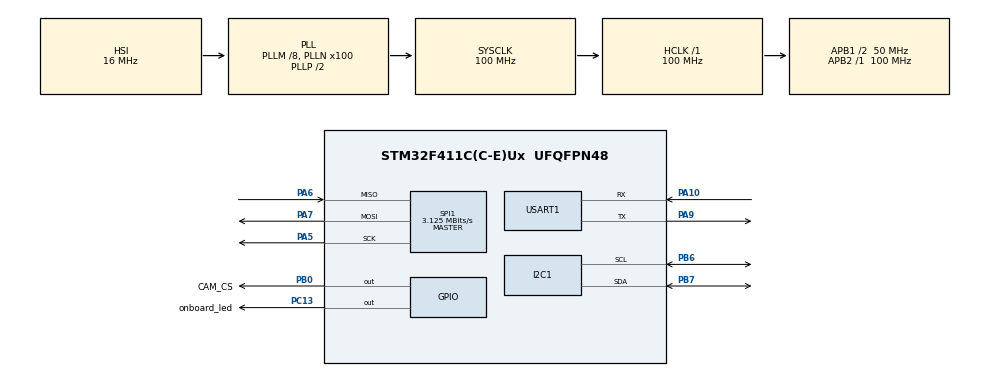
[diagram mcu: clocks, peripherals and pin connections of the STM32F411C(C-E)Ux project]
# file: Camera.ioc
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Mcu.Family=STM32F4
Mcu.Name=STM32F411C(C-E)Ux
Mcu.Package=UFQFPN48
NVIC.PriorityGroup=NVIC_PRIORITYGROUP_4
PA10.Mode=Asynchronous
PA10.Signal=USART1_RX
PA13.Mode=Serial_Wire
PA13.Signal=SYS_JTMS-SWDIO
PA14.Mode=Serial_Wire
PA14.Signal=SYS_JTCK-SWCLK
PA5.Mode=Full_Duplex_Master
PA5.Signal=SPI1_SCK
PA6.Mode=Full_Duplex_Master
PA6.Signal=SPI1_MISO
PA7.Mode=Full_Duplex_Master
PA7.Signal=SPI1_MOSI
PA9.Mode=Asynchronous
PA9.Signal=USART1_TX
PB0.GPIO_Label=CAM_CS
PB0.PinState=GPIO_PIN_SET
PB0.Signal=GPIO_Output
PB6.Mode=I2C
PB6.Signal=I2C1_SCL
PB7.Mode=I2C
PB7.Signal=I2C1_SDA
PC13-ANTI_TAMP.GPIO_Label=onboard_led
PC13-ANTI_TAMP.Signal=GPIO_Output
PH0\ -\ OSC_IN.Mode=HSE-External-Oscillator
PH0\ -\ OSC_IN.Signal=RCC_OSC_IN
PH1\ -\ OSC_OUT.Mode=HSE-External-Oscillator
PH1\ -\ OSC_OUT.Signal=RCC_OSC_OUT
ProjectManager.HeapSize=0x200
ProjectManager.StackSize=0x400
ProjectManager.TargetToolchain=CMake
RCC.48MHZClocksFreq_Value=50000000
RCC.AHBFreq_Value=100000000
RCC.APB1CLKDivider=RCC_HCLK_DIV2
RCC.APB1Freq_Value=50000000
RCC.APB1TimFreq_Value=100000000
RCC.APB2Freq_Value=100000000
RCC.APB2TimFreq_Value=100000000
RCC.CortexFreq_Value=100000000
RCC.HCLKFreq_Value=100000000
RCC.HSE_VALUE=25000000
RCC.HSI_VALUE=16000000
RCC.LSE_VALUE=32768
RCC.PLLM=8
RCC.PLLN=100
RCC.SYSCLKFreq_VALUE=100000000
RCC.SYSCLKSource=RCC_SYSCLKSOURCE_PLLCLK
RCC.VCOOutputFreq_Value=200000000
SPI1.BaudRatePrescaler=SPI_BAUDRATEPRESCALER_32
SPI1.CalculateBaudRate=3.125 MBits/s
SPI1.Direction=SPI_DIRECTION_2LINES
SPI1.Mode=SPI_MODE_MASTER
SPI1.VirtualType=VM_MASTER
USART1.VirtualMode=VM_ASYNC
board=custom

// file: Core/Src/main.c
/* USER CODE BEGIN Header */
/**
  ******************************************************************************
  * @file           : main.c
  * @brief          : Main program body
  ******************************************************************************
  * @attention
  *
  * Copyright (c) 2026 STMicroelectronics.
  * All rights reserved.
  *
  * This software is licensed under terms that can be found in the LICENSE file
  * in the root directory of this software component.
  * If no LICENSE file comes with this software, it is provided AS-IS.
  *
  ******************************************************************************
  */
/* USER CODE END Header */
#include "main.h"

/* USER CODE BEGIN Includes */
#include "arducam.h"
#include "ov2640_regs.h"
/* USER CODE END Includes */
/* USER CODE END Includes */

/* USER CODE BEGIN PD */
#define CHUNK_SIZE 256
/* USER CODE END PD */

I2C_HandleTypeDef hi2c1;

SPI_HandleTypeDef hspi1;

UART_HandleTypeDef huart1;

void SystemClock_Config(void);
static void MX_GPIO_Init(void);
static void MX_I2C1_Init(void);
static void MX_SPI1_Init(void);
static void MX_USART1_UART_Init(void);

int main(void)
{

  /* MCU Configuration--------------------------------------------------------*/

  /* Reset of all peripherals, Initializes the Flash interface and the Systick. */
  HAL_Init();

  /* Configure the system clock */
  SystemClock_Config();

  /* Initialize all configured peripherals */
  MX_GPIO_Init();
  MX_I2C1_Init();
  MX_SPI1_Init();
  MX_USART1_UART_Init();
  /* USER CODE BEGIN 2 */
  uint32_t last_toggle = 0;
  uint8_t image_chunk[CHUNK_SIZE];
  Arducam_Config_t camera_config = {
      .hi2c = &hi2c1,
      .hspi = &hspi1,
      .cs_port = CAM_CS_GPIO_Port,
      .cs_pin = CAM_CS_Pin
  };

  // Initialize hardware wrapper
  Arducam_Init(&camera_config);

  // Initialize OV2640 sensor (Assuming you have the header with the arrays)
  OV2640_InitJPEG(OV2640_320x240_JPEG);
  HAL_Delay(1000);

  // Kick off the very first capture
  Arducam_FlushFIFO();
  HAL_Delay(100);
  Arducam_ClearFIFOFlag();
  HAL_Delay(100);
  Arducam_StartCapture();

  while (!Arducam_IsCaptureDone()) {
    HAL_Delay(10);
  }

  uint32_t image_length = Arducam_GetFIFOLength();

  if (image_length > 0 && image_length < 0x3FFFF)
  {
    uint8_t read_cmd = ARD_FIFO_READ_REG;
    HAL_GPIO_WritePin(CAM_CS_GPIO_Port, CAM_CS_Pin, GPIO_PIN_RESET);
    HAL_SPI_Transmit(&hspi1, &read_cmd, 1, HAL_MAX_DELAY);

    uint32_t bytes_remaining = image_length;

    while (bytes_remaining > 0)
    {
      uint16_t bytes_to_read = (bytes_remaining > CHUNK_SIZE) ? CHUNK_SIZE : bytes_remaining;

      HAL_SPI_Receive(&hspi1, image_chunk, bytes_to_read, HAL_MAX_DELAY);
      HAL_UART_Transmit(&huart1, image_chunk, bytes_to_read, HAL_MAX_DELAY);

      bytes_remaining -= bytes_to_read;
      HAL_Delay(1);
    }
    HAL_GPIO_WritePin(CAM_CS_GPIO_Port, CAM_CS_Pin, GPIO_PIN_SET);
  }
  /* USER CODE END 2 */

  /* Infinite loop */
  /* USER CODE BEGIN WHILE */
  while (1)
  {
    uint32_t now = HAL_GetTick();
    if (now - last_toggle >= 1000) {
      HAL_GPIO_TogglePin(onboard_led_GPIO_Port, onboard_led_Pin);
      last_toggle = now;
    }
    /* USER CODE END WHILE */

  }
}

void SystemClock_Config(void)
{
  RCC_OscInitTypeDef RCC_OscInitStruct = {0};
  RCC_ClkInitTypeDef RCC_ClkInitStruct = {0};

  /** Configure the main internal regulator output voltage
  */
  __HAL_RCC_PWR_CLK_ENABLE();
  __HAL_PWR_VOLTAGESCALING_CONFIG(PWR_REGULATOR_VOLTAGE_SCALE1);

  /** Initializes the RCC Oscillators according to the specified parameters
  * in the RCC_OscInitTypeDef structure.
  */
  RCC_OscInitStruct.OscillatorType = RCC_OSCILLATORTYPE_HSI;
  RCC_OscInitStruct.HSIState = RCC_HSI_ON;
  RCC_OscInitStruct.HSICalibrationValue = RCC_HSICALIBRATION_DEFAULT;
  RCC_OscInitStruct.PLL.PLLState = RCC_PLL_ON;
  RCC_OscInitStruct.PLL.PLLSource = RCC_PLLSOURCE_HSI;
  RCC_OscInitStruct.PLL.PLLM = 8;
  RCC_OscInitStruct.PLL.PLLN = 100;
  RCC_OscInitStruct.PLL.PLLP = RCC_PLLP_DIV2;
  RCC_OscInitStruct.PLL.PLLQ = 4;
  if (HAL_RCC_OscConfig(&RCC_OscInitStruct) != HAL_OK)
  {
    Error_Handler();
  }

  /** Initializes the CPU, AHB and APB buses clocks
  */
  RCC_ClkInitStruct.ClockType = RCC_CLOCKTYPE_HCLK|RCC_CLOCKTYPE_SYSCLK
                              |RCC_CLOCKTYPE_PCLK1|RCC_CLOCKTYPE_PCLK2;
  RCC_ClkInitStruct.SYSCLKSource = RCC_SYSCLKSOURCE_PLLCLK;
  RCC_ClkInitStruct.AHBCLKDivider = RCC_SYSCLK_DIV1;
  RCC_ClkInitStruct.APB1CLKDivider = RCC_HCLK_DIV2;
  RCC_ClkInitStruct.APB2CLKDivider = RCC_HCLK_DIV1;

  if (HAL_RCC_ClockConfig(&RCC_ClkInitStruct, FLASH_LATENCY_3) != HAL_OK)
  {
    Error_Handler();
  }
}

static void MX_I2C1_Init(void)
{

  hi2c1.Instance = I2C1;
  hi2c1.Init.ClockSpeed = 100000;
  hi2c1.Init.DutyCycle = I2C_DUTYCYCLE_2;
  hi2c1.Init.OwnAddress1 = 0;
  hi2c1.Init.AddressingMode = I2C_ADDRESSINGMODE_7BIT;
  hi2c1.Init.DualAddressMode = I2C_DUALADDRESS_DISABLE;
  hi2c1.Init.OwnAddress2 = 0;
  hi2c1.Init.GeneralCallMode = I2C_GENERALCALL_DISABLE;
  hi2c1.Init.NoStretchMode = I2C_NOSTRETCH_DISABLE;
  if (HAL_I2C_Init(&hi2c1) != HAL_OK)
  {
    Error_Handler();
  }

}

static void MX_SPI1_Init(void)
{

  /* SPI1 parameter configuration*/
  hspi1.Instance = SPI1;
  hspi1.Init.Mode = SPI_MODE_MASTER;
  hspi1.Init.Direction = SPI_DIRECTION_2LINES;
  hspi1.Init.DataSize = SPI_DATASIZE_8BIT;
  hspi1.Init.CLKPolarity = SPI_POLARITY_LOW;
  hspi1.Init.CLKPhase = SPI_PHASE_1EDGE;
  hspi1.Init.NSS = SPI_NSS_SOFT;
  hspi1.Init.BaudRatePrescaler = SPI_BAUDRATEPRESCALER_32;
  hspi1.Init.FirstBit = SPI_FIRSTBIT_MSB;
  hspi1.Init.TIMode = SPI_TIMODE_DISABLE;
  hspi1.Init.CRCCalculation = SPI_CRCCALCULATION_DISABLE;
  hspi1.Init.CRCPolynomial = 10;
  if (HAL_SPI_Init(&hspi1) != HAL_OK)
  {
    Error_Handler();
  }

}

static void MX_USART1_UART_Init(void)
{

  huart1.Instance = USART1;
  huart1.Init.BaudRate = 115200;
  huart1.Init.WordLength = UART_WORDLENGTH_8B;
  huart1.Init.StopBits = UART_STOPBITS_1;
  huart1.Init.Parity = UART_PARITY_NONE;
  huart1.Init.Mode = UART_MODE_TX_RX;
  huart1.Init.HwFlowCtl = UART_HWCONTROL_NONE;
  huart1.Init.OverSampling = UART_OVERSAMPLING_16;
  if (HAL_UART_Init(&huart1) != HAL_OK)
  {
    Error_Handler();
  }

}

static void MX_GPIO_Init(void)
{
  GPIO_InitTypeDef GPIO_InitStruct = {0};

  /* GPIO Ports Clock Enable */
  __HAL_RCC_GPIOC_CLK_ENABLE();
  __HAL_RCC_GPIOH_CLK_ENABLE();
  __HAL_RCC_GPIOA_CLK_ENABLE();
  __HAL_RCC_GPIOB_CLK_ENABLE();

  /*Configure GPIO pin Output Level */
  HAL_GPIO_WritePin(onboard_led_GPIO_Port, onboard_led_Pin, GPIO_PIN_RESET);

  /*Configure GPIO pin Output Level */
  HAL_GPIO_WritePin(CAM_CS_GPIO_Port, CAM_CS_Pin, GPIO_PIN_SET);

  /*Configure GPIO pin : onboard_led_Pin */
  GPIO_InitStruct.Pin = onboard_led_Pin;
  GPIO_InitStruct.Mode = GPIO_MODE_OUTPUT_PP;
  GPIO_InitStruct.Pull = GPIO_NOPULL;
  GPIO_InitStruct.Speed = GPIO_SPEED_FREQ_LOW;
  HAL_GPIO_Init(onboard_led_GPIO_Port, &GPIO_InitStruct);

  /*Configure GPIO pin : CAM_CS_Pin */
  GPIO_InitStruct.Pin = CAM_CS_Pin;
  GPIO_InitStruct.Mode = GPIO_MODE_OUTPUT_PP;
  GPIO_InitStruct.Pull = GPIO_NOPULL;
  GPIO_InitStruct.Speed = GPIO_SPEED_FREQ_LOW;
  HAL_GPIO_Init(CAM_CS_GPIO_Port, &GPIO_InitStruct);

}

void Error_Handler(void)
{
  __disable_irq();
  while (1)
  {
  }
}
